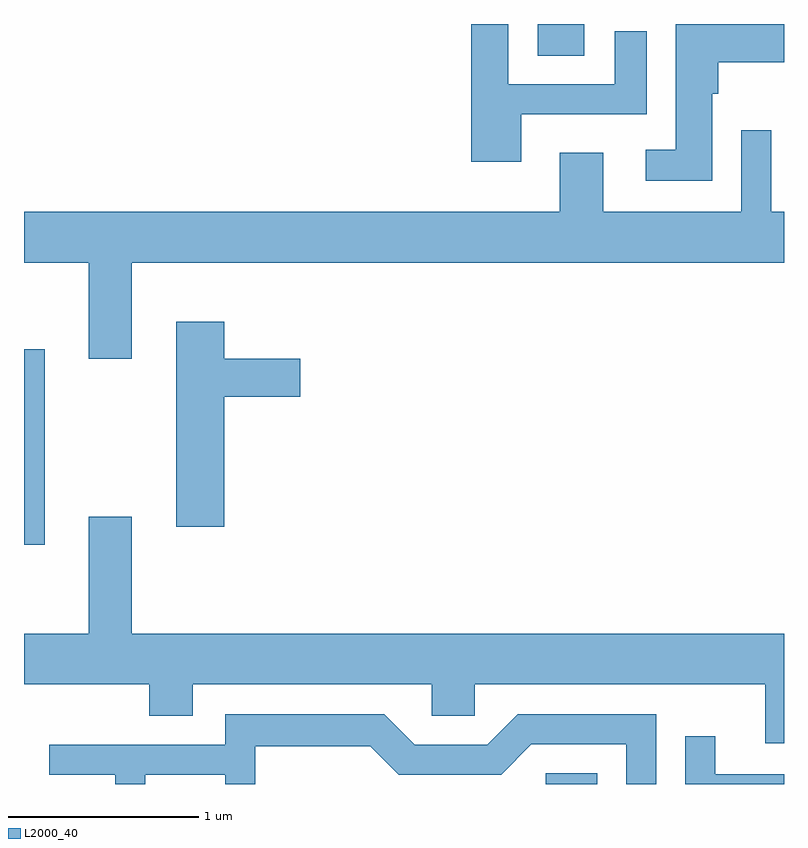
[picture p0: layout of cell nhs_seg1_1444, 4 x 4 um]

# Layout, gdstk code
import gdstk
lib = gdstk.Library(unit=1e-6, precision=1e-09)
def R(c, l, rs):  # rectangles x0, y0, x1, y1
    for r in rs: c.add(gdstk.rectangle(r[:2], r[2:], *l))
def P(c, l, *ps):  # polygons
    for p in ps: c.add(gdstk.Polygon(p, *l))
L2000_40 = (2000, 40)

nhs_seg1_1444 = lib.new_cell('nhs_seg1_1444')
R(nhs_seg1_1444, L2000_40, [(232.358,905.712,232.629,905.769), (229.611,906.971,229.719,907.999), (232.316,909.546,232.559,909.712)])
P(nhs_seg1_1444, L2000_40, [(232.229,909.236),(232.889,909.236),(232.889,909.673),(232.721,909.673),(232.721,909.394),(232.159,909.394),(232.159,909.712),(231.966,909.712),(231.966,908.986),(232.229,908.986)],
  [(233.234,909.346),(233.264,909.346),(233.264,909.511),(233.611,909.511),(233.611,909.712),(233.041,909.712),(233.041,909.049),(232.883,909.049),(232.883,908.886),(233.234,908.886)],
  [(230.179,908.456),(233.611,908.456),(233.611,908.724),(233.544,908.724),(233.544,909.153),(233.386,909.153),(233.386,908.724),(232.659,908.724),(232.659,909.034),(232.431,909.034),(232.431,908.724),(229.611,908.724),(229.611,908.456),(229.951,908.456),(229.951,907.951),(230.179,907.951)],
  [(230.664,907.751),(231.064,907.751),(231.064,907.949),(230.664,907.949),(230.664,908.144),(230.411,908.144),(230.411,907.066),(230.664,907.066)],
  [(230.179,907.119),(229.951,907.119),(229.951,906.504),(229.611,906.504),(229.611,906.236),(230.271,906.236),(230.271,906.071),(230.499,906.071),(230.499,906.236),(231.756,906.236),(231.756,906.071),(231.984,906.071),(231.984,906.236),(233.511,906.236),(233.511,905.926),(233.611,905.926),(233.611,906.504),(230.179,906.504)],
  [(230.249,905.761),(230.671,905.761),(230.671,905.712),(230.829,905.712),(230.829,905.911),(231.434,905.911),(231.584,905.761),(232.122,905.761),(232.282,905.921),(232.781,905.921),(232.781,905.712),(232.939,905.712),(232.939,906.079),(232.209,906.079),(232.049,905.919),(231.667,905.919),(231.507,906.079),(230.671,906.079),(230.671,905.919),(229.743,905.919),(229.743,905.761),(230.091,905.761),(230.091,905.712),(230.249,905.712)],
  [(233.611,905.764),(233.249,905.764),(233.249,905.963),(233.091,905.963),(233.091,905.712),(233.611,905.712)])

lib.write_gds('nhs_seg1_1444.gds')
